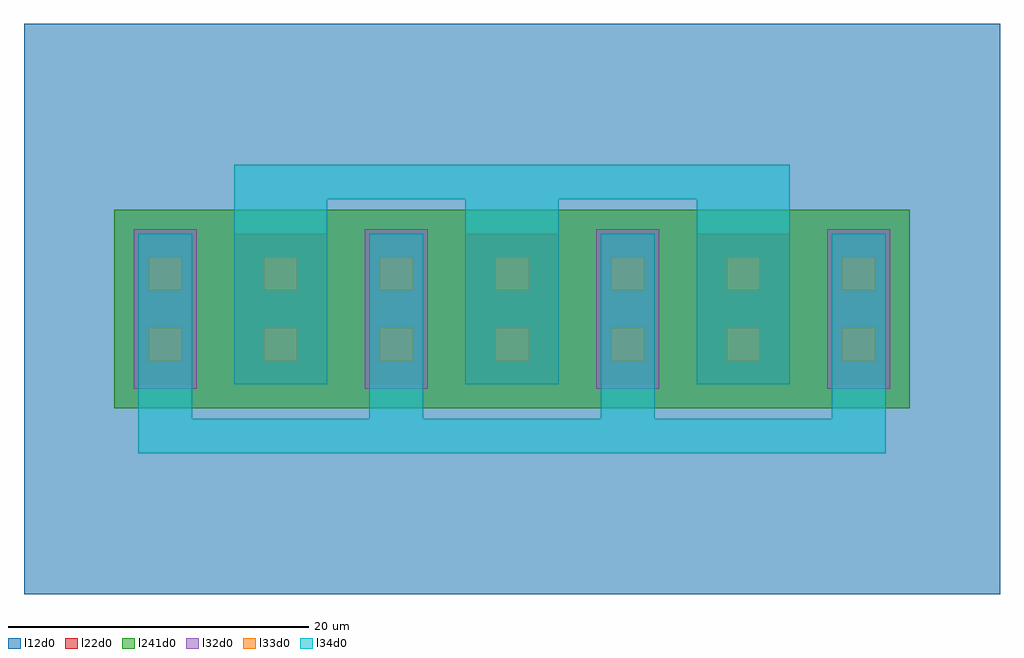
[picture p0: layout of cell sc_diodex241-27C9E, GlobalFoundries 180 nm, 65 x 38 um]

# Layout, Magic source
magic
tech gf180mcud
<< l22d0 >>
rect 0 0 72 200
rect 308 0 380 200
rect 616 0 688 200
rect 924 0 996 200
rect 128 0 252 200
rect 436 0 560 200
rect 744 0 868 200
<< l33d0 >>
rect 14 31 58 75
rect 14 125 58 169
rect 322 31 366 75
rect 322 125 366 169
rect 630 31 674 75
rect 630 125 674 169
rect 938 31 982 75
rect 938 125 982 169
rect 168 31 212 75
rect 168 125 212 169
rect 476 31 520 75
rect 476 125 520 169
rect 784 31 828 75
rect 784 125 828 169
<< l34d0 >>
rect 0 -92 996 -46
rect 128 246 868 292
rect 0 -46 72 200
rect 308 -46 380 200
rect 616 -46 688 200
rect 924 -46 996 200
rect 128 0 252 246
rect 436 0 560 246
rect 744 0 868 246
<< l32d0 >>
rect -6 -6 78 206
rect 302 -6 386 206
rect 610 -6 694 206
rect 918 -6 1002 206
<< l12d0 >>
rect -152 -280 1148 480
<< l241d0 >>
rect -32 -32 1028 232
<< end >>
